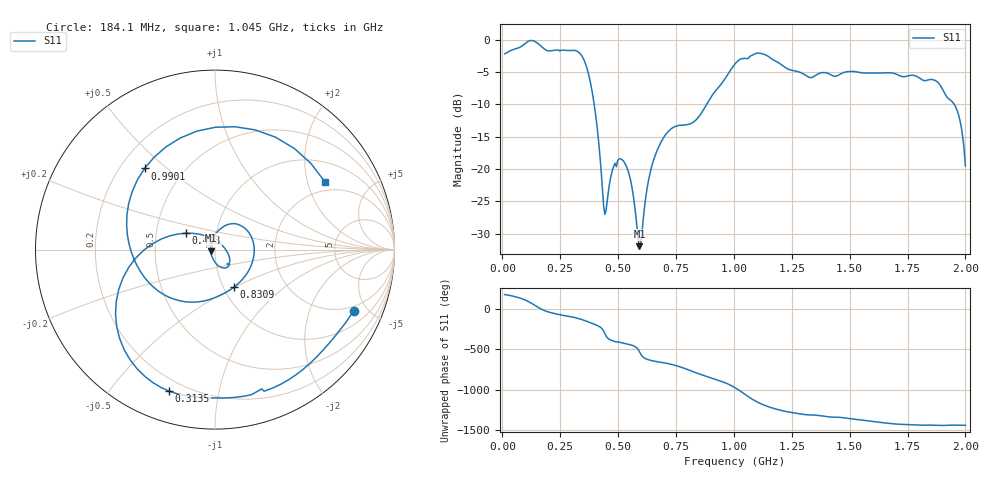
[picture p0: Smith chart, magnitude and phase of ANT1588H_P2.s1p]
!Created with skrf (http://scikit-rf.org).
# Hz S RI R 50.0
!freq ReS11 ImS11
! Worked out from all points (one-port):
!   401 points, 10 MHz to 2 GHz, reference 50 ohm
!   lowest |S11| = -32.0 dB at 592.1 MHz (marker M1), VSWR 1.05, Z = 47.6 - j0.5 ohm
!   |S11| at or under -10 dB: 396.8 MHz to 882 MHz (485.1 MHz wide, 75.9 % of centre); 1.952 GHz to end of sweep
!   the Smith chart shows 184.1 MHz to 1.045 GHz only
!   S11 on the Smith chart (normalised r, x): 184.1 MHz: 1.71, -4.06; 313.5 MHz: 0.14, -0.72; 413 MHz: 0.71, +0.13; 830.9 MHz: 1.12, -0.50; 990.1 MHz: 0.30, +0.42; 1.045 GHz: 1.64, +2.57
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1e7  -0.779 0.0551
6.97e7  -0.6456 0.5798
1.14475e8  0.0512 0.9789
1.493e8  0.8428 0.4418
1.84125e8  0.7725 -0.3412
2.5875e8  0.1596 -0.8172
3.13475e8  -0.2554 -0.7886
3.63225e8  -0.5505 -0.2912
4.12975e8  -0.1611 0.0914
4.42825e8  0.0254 0.0365
5.075e8  0.0714 -0.0965
5.52275e8  0.0108 -0.0837
5.92075e8  -0.0247 -0.00525
6.5675e8  0.0329 0.1177
7.5625e8  0.2097 0.0531
8.30875e8  0.1042 -0.2105
9.1545e8  -0.3169 -0.2303
9.90075e8  -0.3923 0.4524
1.005e9  -0.1926 0.6222
1.0448e9  0.6111 0.3794
1.07465e9  0.6783 -0.3336
1.11445e9  0.0269 -0.7864
1.169175e9  -0.5808 -0.3952
1.25375e9  -0.5417 0.2071
1.5025e9  0.0488 0.5679
1.75125e9  0.5151 0.1083
1.95025e9  0.3182 0.0316
2e9  0.1053 0.00791
